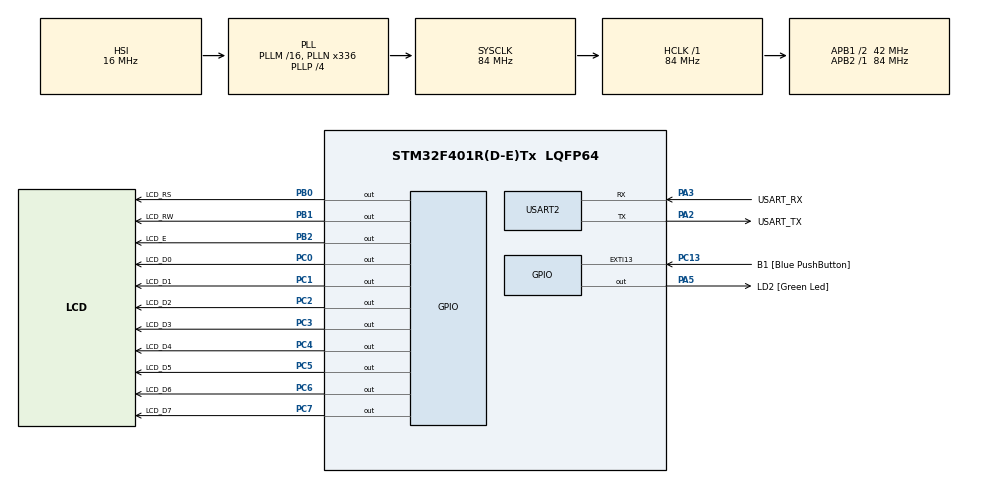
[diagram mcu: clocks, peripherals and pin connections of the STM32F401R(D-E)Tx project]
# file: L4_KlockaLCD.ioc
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Mcu.Family=STM32F4
Mcu.Name=STM32F401R(D-E)Tx
Mcu.Package=LQFP64
NVIC.PriorityGroup=NVIC_PRIORITYGROUP_0
NVIC.TIM1_TRG_COM_TIM11_IRQn=true\:0\:0\:false\:false\:true\:true
NVIC.TIM1_UP_TIM10_IRQn=true\:0\:0\:false\:false\:true\:true
PA13.GPIO_Label=TMS
PA13.Mode=Serial_Wire
PA13.Signal=SYS_JTMS-SWDIO
PA14.GPIO_Label=TCK
PA14.Mode=Serial_Wire
PA14.Signal=SYS_JTCK-SWCLK
PA2.GPIO_Label=USART_TX
PA2.GPIO_Mode=GPIO_MODE_AF_PP
PA2.GPIO_PuPd=GPIO_NOPULL
PA2.GPIO_Speed=GPIO_SPEED_FREQ_LOW
PA2.Mode=Asynchronous
PA2.Signal=USART2_TX
PA3.GPIO_Label=USART_RX
PA3.GPIO_Mode=GPIO_MODE_AF_PP
PA3.GPIO_PuPd=GPIO_NOPULL
PA3.GPIO_Speed=GPIO_SPEED_FREQ_LOW
PA3.Mode=Asynchronous
PA3.Signal=USART2_RX
PA5.GPIO_Label=LD2 [Green Led]
PA5.GPIO_Mode=GPIO_MODE_OUTPUT_PP
PA5.GPIO_PuPd=GPIO_NOPULL
PA5.GPIO_Speed=GPIO_SPEED_FREQ_LOW
PA5.Signal=GPIO_Output
PB0.GPIO_Label=LCD_RS
PB0.Signal=GPIO_Output
PB1.GPIO_Label=LCD_RW
PB1.Signal=GPIO_Output
PB2.GPIO_Label=LCD_E
PB2.Signal=GPIO_Output
PB3.GPIO_Label=SWO
PB3.Signal=SYS_JTDO-SWO
PC0.GPIO_Label=LCD_D0
PC0.Signal=GPIO_Output
PC1.GPIO_Label=LCD_D1
PC1.Signal=GPIO_Output
PC13-ANTI_TAMP.GPIO_Label=B1 [Blue PushButton]
PC13-ANTI_TAMP.GPIO_ModeDefaultEXTI=GPIO_MODE_IT_FALLING
PC13-ANTI_TAMP.GPIO_PuPd=GPIO_NOPULL
PC13-ANTI_TAMP.Signal=GPXTI13
PC14-OSC32_IN.Mode=LSE-External-Clock-Source
PC14-OSC32_IN.Signal=RCC_OSC32_IN
PC15-OSC32_OUT.Mode=LSE-External-Clock-Source
PC15-OSC32_OUT.Signal=RCC_OSC32_OUT
PC2.GPIO_Label=LCD_D2
PC2.Signal=GPIO_Output
PC3.GPIO_Label=LCD_D3
PC3.Signal=GPIO_Output
PC4.GPIO_Label=LCD_D4
PC4.Signal=GPIO_Output
PC5.GPIO_Label=LCD_D5
PC5.Signal=GPIO_Output
PC6.GPIO_Label=LCD_D6
PC6.Signal=GPIO_Output
PC7.GPIO_Label=LCD_D7
PC7.Signal=GPIO_Output
PH0\ -\ OSC_IN.Mode=HSE-External-Clock-Source
PH0\ -\ OSC_IN.Signal=RCC_OSC_IN
PH1\ -\ OSC_OUT.Mode=HSE-External-Clock-Source
PH1\ -\ OSC_OUT.Signal=RCC_OSC_OUT
ProjectManager.HeapSize=0x200
ProjectManager.StackSize=0x400
ProjectManager.TargetToolchain=TrueSTUDIO
RCC.48MHZClocksFreq_Value=48000000
RCC.AHBFreq_Value=84000000
RCC.APB1CLKDivider=RCC_HCLK_DIV2
RCC.APB1Freq_Value=42000000
RCC.APB1TimFreq_Value=84000000
RCC.APB2Freq_Value=84000000
RCC.APB2TimFreq_Value=84000000
RCC.CortexFreq_Value=84000000
RCC.HCLKFreq_Value=84000000
RCC.HSE_VALUE=8000000
RCC.HSI_VALUE=16000000
RCC.LSE_VALUE=0.00000003276799999999999
RCC.PLLN=336
RCC.PLLP=RCC_PLLP_DIV4
RCC.PLLQ=7
RCC.SYSCLKFreq_VALUE=84000000
RCC.SYSCLKSource=RCC_SYSCLKSOURCE_PLLCLK
RCC.VCOOutputFreq_Value=336000000
TIM10.Period=49999
TIM10.Prescaler=15
TIM11.Period=79
USART2.VirtualMode=VM_ASYNC
VP_TIM10_VS_ClockSourceINT.Mode=Enable_Timer
VP_TIM11_VS_ClockSourceINT.Mode=Enable_Timer
board=NUCLEO-F401RE

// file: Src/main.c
/**
  ******************************************************************************
  * @file           : main.c
  * @brief          : Main program body
  ******************************************************************************
  ** This notice applies to any and all portions of this file
  * that are not between comment pairs USER CODE BEGIN and
  * USER CODE END. Other portions of this file, whether
  * inserted by the user or by software development tools
  * are owned by their respective copyright owners.
  *
  * COPYRIGHT(c) 2018 STMicroelectronics
  *
  * Redistribution and use in source and binary forms, with or without modification,
  * are permitted provided that the following conditions are met:
  *   1. Redistributions of source code must retain the above copyright notice,
  *      this list of conditions and the following disclaimer.
  *   2. Redistributions in binary form must reproduce the above copyright notice,
  *      this list of conditions and the following disclaimer in the documentation
  *      and/or other materials provided with the distribution.
  *   3. Neither the name of STMicroelectronics nor the names of its contributors
  *      may be used to endorse or promote products derived from this software
  *      without specific prior written permission.
  *
  * THIS SOFTWARE IS PROVIDED BY THE COPYRIGHT HOLDERS AND CONTRIBUTORS "AS IS"
  * AND ANY EXPRESS OR IMPLIED WARRANTIES, INCLUDING, BUT NOT LIMITED TO, THE
  * IMPLIED WARRANTIES OF MERCHANTABILITY AND FITNESS FOR A PARTICULAR PURPOSE ARE
  * DISCLAIMED. IN NO EVENT SHALL THE COPYRIGHT HOLDER OR CONTRIBUTORS BE LIABLE
  * FOR ANY DIRECT, INDIRECT, INCIDENTAL, SPECIAL, EXEMPLARY, OR CONSEQUENTIAL
  * DAMAGES (INCLUDING, BUT NOT LIMITED TO, PROCUREMENT OF SUBSTITUTE GOODS OR
  * SERVICES; LOSS OF USE, DATA, OR PROFITS; OR BUSINESS INTERRUPTION) HOWEVER
  * CAUSED AND ON ANY THEORY OF LIABILITY, WHETHER IN CONTRACT, STRICT LIABILITY,
  * OR TORT (INCLUDING NEGLIGENCE OR OTHERWISE) ARISING IN ANY WAY OUT OF THE USE
  * OF THIS SOFTWARE, EVEN IF ADVISED OF THE POSSIBILITY OF SUCH DAMAGE.
  *
  ******************************************************************************
  */
#include "main.h"
#include "stm32f4xx_hal.h"

/* USER CODE BEGIN Includes */
#include "lcd.h"
/* USER CODE END Includes */

TIM_HandleTypeDef htim10;
TIM_HandleTypeDef htim11;

UART_HandleTypeDef huart2;

/* USER CODE BEGIN PV */
/* Private variables ---------------------------------------------------------*/

volatile uint32_t sekTick=0;

/* USER CODE END PV */

void SystemClock_Config(void);
static void MX_GPIO_Init(void);
static void MX_USART2_UART_Init(void);
static void MX_TIM10_Init(void);
static void MX_TIM11_Init(void);

/* USER CODE BEGIN PFP */
/* Private function prototypes -----------------------------------------------*/

/* USER CODE END PFP */

int main(void)
{
  /* USER CODE BEGIN 1 */

	TextLCDType lcd;

  /* USER CODE END 1 */

  /* MCU Configuration----------------------------------------------------------*/

  /* Reset of all peripherals, Initializes the Flash interface and the Systick. */
  HAL_Init();

  /* Configure the system clock */
  SystemClock_Config();

  /* Initialize all configured peripherals */
  MX_GPIO_Init();
  MX_USART2_UART_Init();
  MX_TIM10_Init();
  MX_TIM11_Init();

  /* USER CODE BEGIN 2 */
  TextLCD_Init(&lcd, LCD_RS_GPIO_Port, LCD_RS_Pin, LCD_RW_Pin, LCD_E_Pin,
  LCD_D0_GPIO_Port,(LCD_D0_Pin | LCD_D1_Pin | LCD_D2_Pin | LCD_D3_Pin | LCD_D4_Pin | LCD_D5_Pin | LCD_D6_Pin | LCD_D7_Pin) );

    TextLCD_Position(&lcd, 1,1);
    TextLCD_Puts(&lcd, "TIME");
    TextLCD_Position(&lcd,5,1);
    TextLCD_Puts(&lcd, ":");
    TextLCD_Position(&lcd, 15,1);
    TextLCD_Puts(&lcd, "s");
    TextLCD_Position(&lcd, 9,1);
    TextLCD_Puts(&lcd, "min");

    TextLCD_Position(&lcd, 1,2);
    TextLCD_Puts(&lcd, "HAVE A NICE DAY!");
  /* USER CODE END 2 */

  /* Infinite loop */
  /* USER CODE BEGIN WHILE */

  HAL_TIM_Base_Start_IT(&htim10);

  while (1)
  {

	 int i = sekTick%10;
	  	  TextLCD_Position(&lcd, 14,1);
	  	  TextLCD_Putchar(&lcd, i+'0');

	 int j = ((sekTick%60) - (sekTick%10)) / 10;
	 	  TextLCD_Position(&lcd, 13,1);
	  	  TextLCD_Putchar(&lcd, j+'0');

	  int k = (sekTick/60) % 10;
	  	  TextLCD_Position(&lcd, 8,1);
	  	  TextLCD_Putchar(&lcd, k+'0');

	  int l = (sekTick/600) % 6;
	  	  TextLCD_Position(&lcd, 7,1);
	  	  TextLCD_Putchar(&lcd, l+'0');

	 /* USER CODE END WHILE */

}

}

void SystemClock_Config(void)
{

  RCC_OscInitTypeDef RCC_OscInitStruct;
  RCC_ClkInitTypeDef RCC_ClkInitStruct;

    /**Configure the main internal regulator output voltage
    */
  __HAL_RCC_PWR_CLK_ENABLE();

  __HAL_PWR_VOLTAGESCALING_CONFIG(PWR_REGULATOR_VOLTAGE_SCALE2);

    /**Initializes the CPU, AHB and APB busses clocks
    */
  RCC_OscInitStruct.OscillatorType = RCC_OSCILLATORTYPE_HSI;
  RCC_OscInitStruct.HSIState = RCC_HSI_ON;
  RCC_OscInitStruct.HSICalibrationValue = 16;
  RCC_OscInitStruct.PLL.PLLState = RCC_PLL_ON;
  RCC_OscInitStruct.PLL.PLLSource = RCC_PLLSOURCE_HSI;
  RCC_OscInitStruct.PLL.PLLM = 16;
  RCC_OscInitStruct.PLL.PLLN = 336;
  RCC_OscInitStruct.PLL.PLLP = RCC_PLLP_DIV4;
  RCC_OscInitStruct.PLL.PLLQ = 7;
  if (HAL_RCC_OscConfig(&RCC_OscInitStruct) != HAL_OK)
  {
    _Error_Handler(__FILE__, __LINE__);
  }

    /**Initializes the CPU, AHB and APB busses clocks
    */
  RCC_ClkInitStruct.ClockType = RCC_CLOCKTYPE_HCLK|RCC_CLOCKTYPE_SYSCLK
                              |RCC_CLOCKTYPE_PCLK1|RCC_CLOCKTYPE_PCLK2;
  RCC_ClkInitStruct.SYSCLKSource = RCC_SYSCLKSOURCE_PLLCLK;
  RCC_ClkInitStruct.AHBCLKDivider = RCC_SYSCLK_DIV1;
  RCC_ClkInitStruct.APB1CLKDivider = RCC_HCLK_DIV2;
  RCC_ClkInitStruct.APB2CLKDivider = RCC_HCLK_DIV1;

  if (HAL_RCC_ClockConfig(&RCC_ClkInitStruct, FLASH_LATENCY_2) != HAL_OK)
  {
    _Error_Handler(__FILE__, __LINE__);
  }

    /**Configure the Systick interrupt time
    */
  HAL_SYSTICK_Config(HAL_RCC_GetHCLKFreq()/1000);

    /**Configure the Systick
    */
  HAL_SYSTICK_CLKSourceConfig(SYSTICK_CLKSOURCE_HCLK);

  /* SysTick_IRQn interrupt configuration */
  HAL_NVIC_SetPriority(SysTick_IRQn, 0, 0);
}

/* TIM10 init function */
static void MX_TIM10_Init(void)
{

  htim10.Instance = TIM10;
  htim10.Init.Prescaler = 1343;
  htim10.Init.CounterMode = TIM_COUNTERMODE_UP;
  htim10.Init.Period = 62499;
  htim10.Init.ClockDivision = TIM_CLOCKDIVISION_DIV1;
  if (HAL_TIM_Base_Init(&htim10) != HAL_OK)
  {
    _Error_Handler(__FILE__, __LINE__);
  }

}

/* TIM11 init function */
static void MX_TIM11_Init(void)
{

  htim11.Instance = TIM11;
  htim11.Init.Prescaler = 0;
  htim11.Init.CounterMode = TIM_COUNTERMODE_UP;
  htim11.Init.Period = 79;
  htim11.Init.ClockDivision = TIM_CLOCKDIVISION_DIV1;
  if (HAL_TIM_Base_Init(&htim11) != HAL_OK)
  {
    _Error_Handler(__FILE__, __LINE__);
  }

}

/* USART2 init function */
static void MX_USART2_UART_Init(void)
{

  huart2.Instance = USART2;
  huart2.Init.BaudRate = 115200;
  huart2.Init.WordLength = UART_WORDLENGTH_8B;
  huart2.Init.StopBits = UART_STOPBITS_1;
  huart2.Init.Parity = UART_PARITY_NONE;
  huart2.Init.Mode = UART_MODE_TX_RX;
  huart2.Init.HwFlowCtl = UART_HWCONTROL_NONE;
  huart2.Init.OverSampling = UART_OVERSAMPLING_16;
  if (HAL_UART_Init(&huart2) != HAL_OK)
  {
    _Error_Handler(__FILE__, __LINE__);
  }

}

/** Configure pins as
        * Analog
        * Input
        * Output
        * EVENT_OUT
        * EXTI
*/
static void MX_GPIO_Init(void)
{

  GPIO_InitTypeDef GPIO_InitStruct;

  /* GPIO Ports Clock Enable */
  __HAL_RCC_GPIOC_CLK_ENABLE();
  __HAL_RCC_GPIOH_CLK_ENABLE();
  __HAL_RCC_GPIOA_CLK_ENABLE();
  __HAL_RCC_GPIOB_CLK_ENABLE();

  /*Configure GPIO pin Output Level */
  HAL_GPIO_WritePin(GPIOC, LCD_D0_Pin|LCD_D1_Pin|LCD_D2_Pin|LCD_D3_Pin
  |LCD_D4_Pin|LCD_D5_Pin|LCD_D6_Pin|LCD_D7_Pin, GPIO_PIN_RESET);

  /*Configure GPIO pin Output Level */
  HAL_GPIO_WritePin(LD2_GPIO_Port, LD2_Pin, GPIO_PIN_RESET);

  /*Configure GPIO pin Output Level */
  HAL_GPIO_WritePin(GPIOB, LCD_RS_Pin|LCD_RW_Pin|LCD_E_Pin, GPIO_PIN_RESET);

  /*Configure GPIO pin : B1_Pin */
  GPIO_InitStruct.Pin = B1_Pin;
  GPIO_InitStruct.Mode = GPIO_MODE_IT_FALLING;
  GPIO_InitStruct.Pull = GPIO_NOPULL;
  HAL_GPIO_Init(B1_GPIO_Port, &GPIO_InitStruct);

  /*Configure GPIO pins : LCD_D0_Pin LCD_D1_Pin LCD_D2_Pin LCD_D3_Pin
                           LCD_D4_Pin LCD_D5_Pin LCD_D6_Pin LCD_D7_Pin */
  GPIO_InitStruct.Pin = LCD_D0_Pin|LCD_D1_Pin|LCD_D2_Pin|LCD_D3_Pin
                          |LCD_D4_Pin|LCD_D5_Pin|LCD_D6_Pin|LCD_D7_Pin;
  GPIO_InitStruct.Mode = GPIO_MODE_OUTPUT_PP;
  GPIO_InitStruct.Pull = GPIO_NOPULL;
  GPIO_InitStruct.Speed = GPIO_SPEED_FREQ_LOW;
  HAL_GPIO_Init(GPIOC, &GPIO_InitStruct);

  /*Configure GPIO pin : LD2_Pin */
  GPIO_InitStruct.Pin = LD2_Pin;
  GPIO_InitStruct.Mode = GPIO_MODE_OUTPUT_PP;
  GPIO_InitStruct.Pull = GPIO_NOPULL;
  GPIO_InitStruct.Speed = GPIO_SPEED_FREQ_LOW;
  HAL_GPIO_Init(LD2_GPIO_Port, &GPIO_InitStruct);

  /*Configure GPIO pins : LCD_RS_Pin LCD_RW_Pin LCD_E_Pin */
  GPIO_InitStruct.Pin = LCD_RS_Pin|LCD_RW_Pin|LCD_E_Pin;
  GPIO_InitStruct.Mode = GPIO_MODE_OUTPUT_PP;
  GPIO_InitStruct.Pull = GPIO_NOPULL;
  GPIO_InitStruct.Speed = GPIO_SPEED_FREQ_LOW;
  HAL_GPIO_Init(GPIOB, &GPIO_InitStruct);

}

void _Error_Handler(char *file, int line)
{
  while(1)
  {
  }
}

/************************ (C) COPYRIGHT STMicroelectronics *****END OF FILE****/
